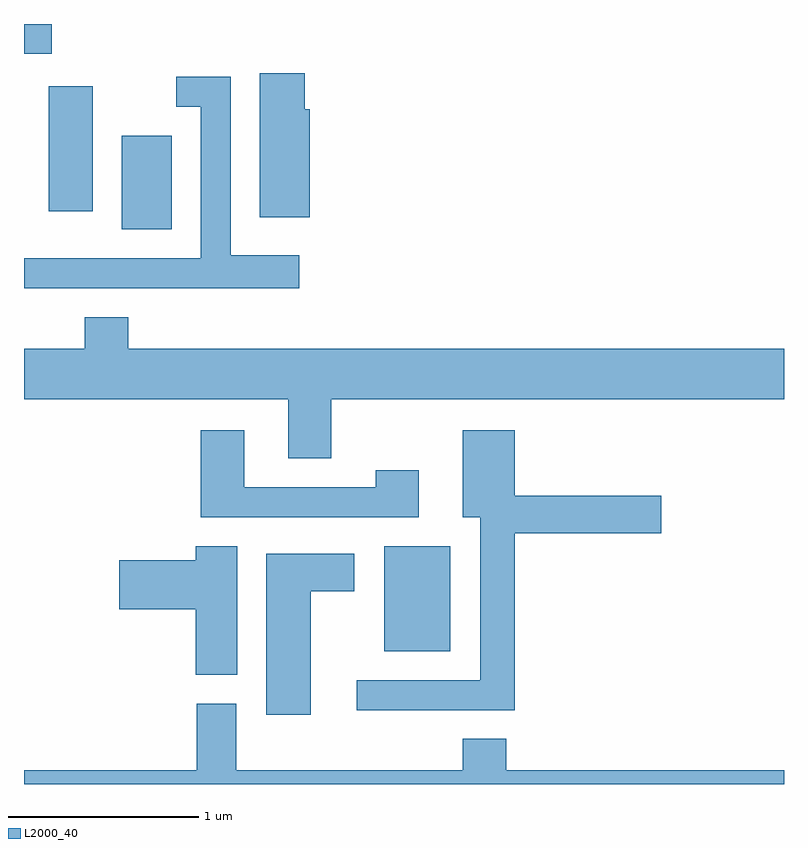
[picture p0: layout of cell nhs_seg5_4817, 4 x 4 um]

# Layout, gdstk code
import gdstk
lib = gdstk.Library(unit=1e-6, precision=1e-09)
def R(c, l, rs):  # rectangles x0, y0, x1, y1
    for r in rs: c.add(gdstk.rectangle(r[:2], r[2:], *l))
def P(c, l, *ps):  # polygons
    for p in ps: c.add(gdstk.Polygon(p, *l))
L2000_40 = (2000, 40)

nhs_seg5_4817 = lib.new_cell('nhs_seg5_4817')
R(nhs_seg5_4817, L2000_40, [(329.506,1488.771,329.854,1489.324), (328.126,1490.991,328.389,1491.484), (327.741,1491.086,327.974,1491.744), (327.611,1491.916,327.758,1492.072)])
P(nhs_seg5_4817, L2000_40, [(329.114,1491.624),(329.089,1491.624),(329.089,1491.814),(328.851,1491.814),(328.851,1491.056),(329.114,1491.056)],
  [(329.059,1490.854),(328.699,1490.854),(328.699,1491.794),(328.413,1491.794),(328.413,1491.636),(328.541,1491.636),(328.541,1490.839),(327.611,1490.839),(327.611,1490.681),(329.059,1490.681)],
  [(329.229,1490.096),(331.611,1490.096),(331.611,1490.364),(328.159,1490.364),(328.159,1490.529),(327.931,1490.529),(327.931,1490.364),(327.611,1490.364),(327.611,1490.096),(329.001,1490.096),(329.001,1489.786),(329.229,1489.786)],
  [(330.194,1489.391),(330.964,1489.391),(330.964,1489.589),(330.194,1489.589),(330.194,1489.934),(329.921,1489.934),(329.921,1489.476),(330.011,1489.476),(330.011,1488.619),(329.363,1488.619),(329.363,1488.461),(330.194,1488.461)],
  [(329.689,1489.724),(329.461,1489.724),(329.461,1489.634),(328.769,1489.634),(328.769,1489.934),(328.541,1489.934),(328.541,1489.476),(329.689,1489.476)],
  [(328.734,1489.324),(328.516,1489.324),(328.516,1489.249),(328.111,1489.249),(328.111,1488.991),(328.516,1488.991),(328.516,1488.646),(328.734,1488.646)],
  [(329.119,1489.086),(329.349,1489.086),(329.349,1489.284),(328.886,1489.284),(328.886,1488.436),(329.119,1488.436)],
  [(331.611,1488.144),(330.149,1488.144),(330.149,1488.309),(329.921,1488.309),(329.921,1488.144),(328.729,1488.144),(328.729,1488.494),(328.521,1488.494),(328.521,1488.144),(327.611,1488.144),(327.611,1488.072),(331.611,1488.072)])

lib.write_gds('nhs_seg5_4817.gds')
